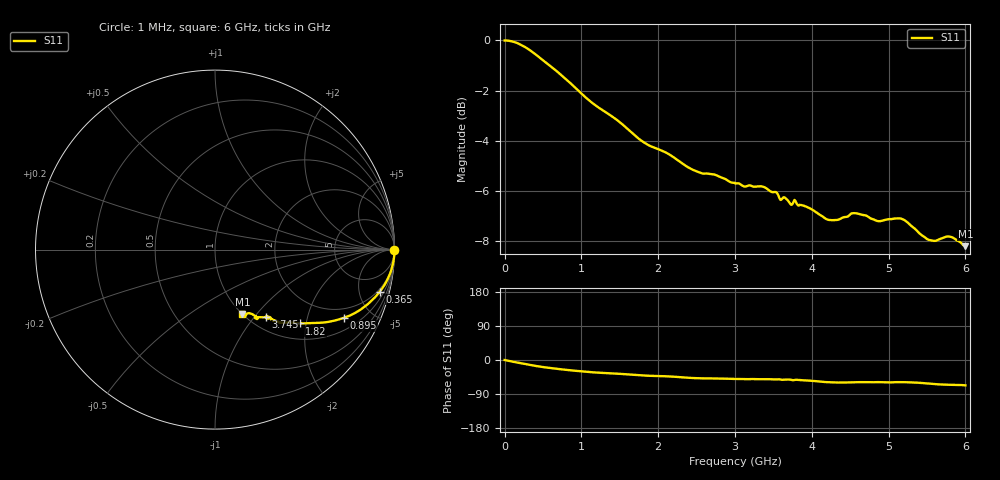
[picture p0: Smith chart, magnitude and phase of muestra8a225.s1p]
! COPPER MOUNTAIN TECHNOLOGIES, R60, 23103002, 24.3.3/3.0
! Date: 23/10/2026 12:18:11
! Data: Format [Calibration Info]
! Frequency		S11: Re/Im RO
# HZ S RI R 50
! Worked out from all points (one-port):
!   1280 points, 1 MHz to 6 GHz, reference 50 ohm
!   lowest |S11| = -8.2 dB at 6 GHz (marker M1), VSWR 2.27, Z = 50.1 - j42.3 ohm
!   |S11| at or under -10 dB: nowhere
!   S11 on the Smith chart (normalised r, x): 1 MHz: open; 365 MHz: 1.65, -7.61; 895 MHz: 1.52, -3.39; 1.82 GHz: 1.36, -1.83; 3.745 GHz: 1.19, -1.15; 6 GHz: 1.00, -0.85
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1000000  1 -0.0006
1e8  0.9929 -0.072
1.7e8  0.9803 -0.1201
3.65e8  0.9185 -0.2344
5.5e8  0.8465 -0.3082
7.55e8  0.7701 -0.3584
8.95e8  0.7176 -0.3803
1.15e9  0.6317 -0.4027
1.505e9  0.5513 -0.4091
1.82e9  0.4714 -0.4114
2.105e9  0.4369 -0.4074
2.255e9  0.4096 -0.4067
2.53e9  0.3637 -0.4077
2.765e9  0.3558 -0.4036
3.005e9  0.3327 -0.3981
3.395e9  0.3237 -0.3926
3.745e9  0.2841 -0.3763
3.755e9  0.2838 -0.3798
3.94e9  0.2731 -0.3772
4.23e9  0.2271 -0.3753
4.365e9  0.2227 -0.3801
4.505e9  0.2319 -0.3865
4.87e9  0.2287 -0.3716
5.15e9  0.2315 -0.3763
5.255e9  0.2242 -0.3701
5.52e9  0.1874 -0.354
5.795e9  0.1699 -0.3693
6e9  0.1522 -0.358
